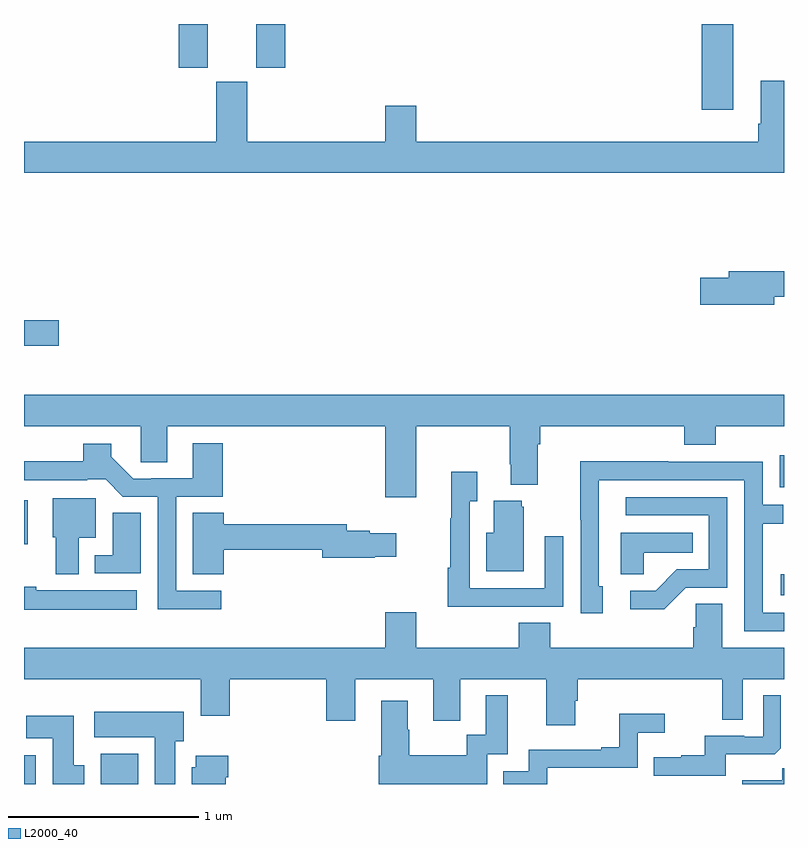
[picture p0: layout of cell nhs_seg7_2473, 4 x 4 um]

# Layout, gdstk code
import gdstk
lib = gdstk.Library(unit=1e-6, precision=1e-09)
def R(c, l, rs):  # rectangles x0, y0, x1, y1
    for r in rs: c.add(gdstk.rectangle(r[:2], r[2:], *l))
def P(c, l, *ps):  # polygons
    for p in ps: c.add(gdstk.Polygon(p, *l))
L2000_40 = (2000, 40)

nhs_seg7_2473 = lib.new_cell('nhs_seg7_2473')
R(nhs_seg7_2473, L2000_40, [(271,1064,271.063,1064.152), (271.403,1064,271.6,1064.158), (274.983,1064.993,275,1065.103), (271,1065.263,271.021,1065.493), (274.977,1065.561,275,1065.73), (271,1066.307,271.183,1066.442), (274.568,1067.55,274.732,1068), (271.814,1067.769,271.966,1068), (272.222,1067.769,272.375,1068)])
P(nhs_seg7_2473, L2000_40, [(275,1067.701),(274.877,1067.701),(274.877,1067.476),(274.865,1067.476),(274.865,1067.38),(273.064,1067.38),(273.064,1067.569),(272.9,1067.569),(272.9,1067.38),(272.176,1067.38),(272.176,1067.697),(272.012,1067.697),(272.012,1067.38),(271,1067.38),(271,1067.216),(275,1067.216)],
  [(274.948,1066.564),(275,1066.564),(275,1066.7),(274.709,1066.7),(274.709,1066.664),(274.56,1066.664),(274.56,1066.522),(274.948,1066.522)],
  [(273.064,1065.884),(273.556,1065.884),(273.556,1065.682),(273.563,1065.682),(273.563,1065.575),(273.703,1065.575),(273.703,1065.788),(273.716,1065.788),(273.716,1065.884),(274.475,1065.884),(274.475,1065.785),(274.64,1065.785),(274.64,1065.884),(275,1065.884),(275,1066.048),(271,1066.048),(271,1065.884),(271.614,1065.884),(271.614,1065.694),(271.753,1065.694),(271.753,1065.884),(272.9,1065.884),(272.9,1065.51),(273.064,1065.51)],
  [(272.038,1065.018),(271.8,1065.018),(271.8,1065.513),(272.045,1065.513),(272.045,1065.793),(271.889,1065.793),(271.889,1065.609),(271.669,1065.609),(271.669,1065.606),(271.575,1065.606),(271.459,1065.722),(271.459,1065.79),(271.312,1065.79),(271.312,1065.698),(271,1065.698),(271,1065.6),(271.334,1065.6),(271.334,1065.603),(271.43,1065.603),(271.52,1065.513),(271.704,1065.513),(271.704,1064.921),(272.038,1064.921)],
  [(275,1064.901),(274.887,1064.901),(274.887,1065.37),(274.997,1065.37),(274.997,1065.471),(274.887,1065.471),(274.887,1065.696),(274.391,1065.696),(274.391,1065.698),(273.928,1065.698),(273.928,1065.391),(273.93,1065.391),(273.93,1064.898),(274.045,1064.898),(274.045,1065.042),(274.026,1065.042),(274.026,1065.6),(274.791,1065.6),(274.791,1064.805),(275,1064.805)],
  [(273.521,1064.934),(273.837,1064.934),(273.837,1065.304),(273.741,1065.304),(273.741,1065.03),(273.345,1065.03),(273.345,1065.487),(273.385,1065.487),(273.385,1065.643),(273.248,1065.643),(273.248,1065.398),(273.244,1065.398),(273.244,1065.137),(273.229,1065.137),(273.229,1064.933),(273.521,1064.933)],
  [(274.482,1065.033),(274.701,1065.033),(274.701,1065.51),(274.167,1065.51),(274.167,1065.414),(274.605,1065.414),(274.605,1065.129),(274.436,1065.129),(274.325,1065.018),(274.191,1065.018),(274.191,1064.921),(274.369,1064.921)],
  [(271.288,1065.296),(271.378,1065.296),(271.378,1065.505),(271.151,1065.505),(271.151,1065.3),(271.166,1065.3),(271.166,1065.104),(271.288,1065.104)],
  [(273.631,1065.459),(273.62,1065.459),(273.62,1065.49),(273.473,1065.49),(273.473,1065.322),(273.434,1065.322),(273.434,1065.119),(273.631,1065.119)],
  [(272.05,1065.232),(272.57,1065.232),(272.57,1065.19),(272.846,1065.19),(272.846,1065.197),(272.959,1065.197),(272.959,1065.319),(272.82,1065.319),(272.82,1065.332),(272.698,1065.332),(272.698,1065.368),(272.05,1065.368),(272.05,1065.428),(271.889,1065.428),(271.889,1065.103),(272.05,1065.103)],
  [(271.615,1065.428),(271.466,1065.428),(271.466,1065.204),(271.373,1065.204),(271.373,1065.108),(271.615,1065.108)],
  [(274.263,1065.218),(274.52,1065.218),(274.52,1065.322),(274.142,1065.322),(274.142,1065.103),(274.263,1065.103)],
  [(271.594,1065.019),(271.065,1065.019),(271.065,1065.037),(271,1065.037),(271,1064.918),(271.594,1064.918)],
  [(273.901,1064.439),(273.914,1064.439),(273.914,1064.552),(274.674,1064.552),(274.674,1064.338),(274.782,1064.338),(274.782,1064.552),(275,1064.552),(275,1064.716),(274.675,1064.716),(274.675,1064.948),(274.536,1064.948),(274.536,1064.825),(274.523,1064.825),(274.523,1064.716),(273.77,1064.716),(273.77,1064.849),(273.605,1064.849),(273.605,1064.716),(273.064,1064.716),(273.064,1064.905),(272.9,1064.905),(272.9,1064.716),(271,1064.716),(271,1064.552),(271.931,1064.552),(271.931,1064.358),(272.084,1064.358),(272.084,1064.552),(272.591,1064.552),(272.591,1064.334),(272.743,1064.334),(272.743,1064.552),(273.155,1064.552),(273.155,1064.334),(273.295,1064.334),(273.295,1064.552),(273.749,1064.552),(273.749,1064.31),(273.901,1064.31)],
  [(273.438,1064.157),(273.547,1064.157),(273.547,1064.467),(273.431,1064.467),(273.431,1064.258),(273.33,1064.258),(273.33,1064.152),(273.027,1064.152),(273.027,1064.286),(273.019,1064.286),(273.019,1064.437),(272.879,1064.437),(272.879,1064.148),(272.867,1064.148),(272.867,1064),(273.438,1064)],
  [(274.693,1064.156),(274.951,1064.156),(274.983,1064.187),(274.983,1064.467),(274.89,1064.467),(274.89,1064.25),(274.79,1064.25),(274.79,1064.253),(274.583,1064.253),(274.583,1064.152),(274.459,1064.152),(274.459,1064.14),(274.315,1064.14),(274.315,1064.043),(274.693,1064.043)],
  [(271.795,1064.226),(271.84,1064.226),(271.84,1064.38),(271.371,1064.38),(271.371,1064.246),(271.688,1064.246),(271.688,1064),(271.795,1064)],
  [(273.753,1064.085),(274.23,1064.085),(274.23,1064.27),(274.372,1064.27),(274.372,1064.369),(274.132,1064.369),(274.132,1064.194),(274.037,1064.194),(274.037,1064.181),(273.657,1064.181),(273.657,1064.067),(273.523,1064.067),(273.523,1064),(273.753,1064)],
  [(271.318,1064.1),(271.261,1064.1),(271.261,1064.359),(271.012,1064.359),(271.012,1064.24),(271.151,1064.24),(271.151,1064),(271.318,1064)],
  [(272.062,1064.036),(272.075,1064.036),(272.075,1064.149),(271.904,1064.149),(271.904,1064.088),(271.883,1064.088),(271.883,1064),(272.062,1064)],
  [(275,1064.084),(274.992,1064.084),(274.992,1064.02),(274.781,1064.02),(274.781,1064),(275,1064)])

lib.write_gds('nhs_seg7_2473.gds')
